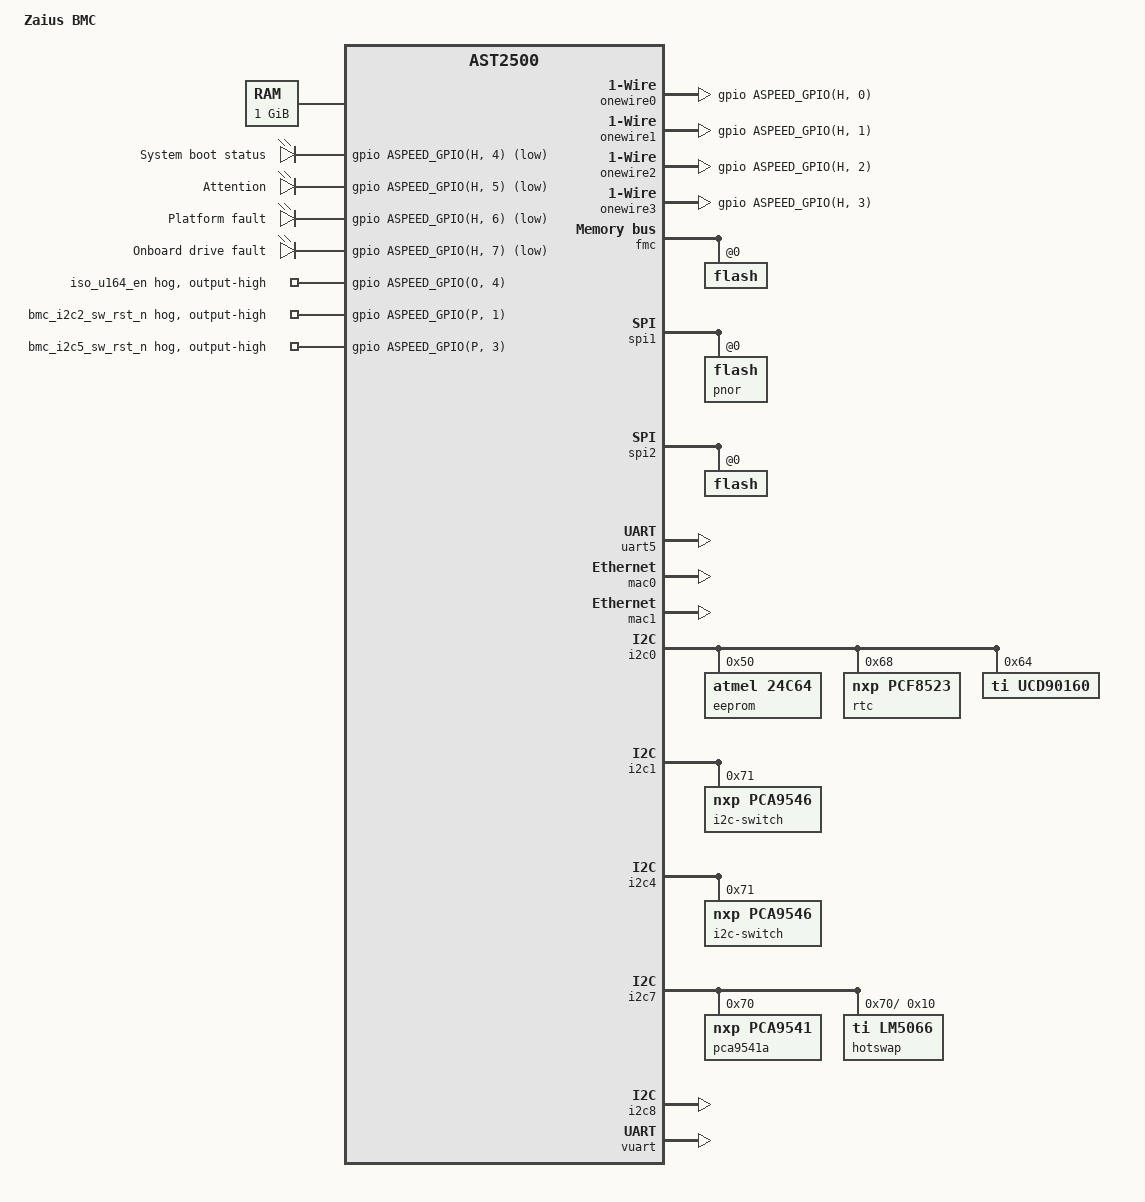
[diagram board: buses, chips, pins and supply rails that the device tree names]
/dts-v1/;

#include "aspeed-g5.dtsi"
#include <dt-bindings/gpio/aspeed-gpio.h>

/ {
	model = "Zaius BMC";
	compatible = "ingrasys,zaius-bmc", "aspeed,ast2500";

	aliases {
		serial4 = &uart5;
	};

	chosen {
		stdout-path = &uart5;
		bootargs = "console=ttyS4,115200 earlyprintk";
	};

	memory {
		reg = <0x80000000 0x40000000>;
	};

	onewire0 {
		compatible = "w1-gpio";
		gpios = <&gpio ASPEED_GPIO(H, 0) GPIO_ACTIVE_HIGH>;
	};

	onewire1 {
		compatible = "w1-gpio";
		gpios = <&gpio ASPEED_GPIO(H, 1) GPIO_ACTIVE_HIGH>;
	};

	onewire2 {
		compatible = "w1-gpio";
		gpios = <&gpio ASPEED_GPIO(H, 2) GPIO_ACTIVE_HIGH>;
	};

	onewire3 {
		compatible = "w1-gpio";
		gpios = <&gpio ASPEED_GPIO(H, 3) GPIO_ACTIVE_HIGH>;
	};

	leds {
		compatible = "gpio-leds";

		sys_boot_status {
			label = "System boot status";
			gpios = <&gpio ASPEED_GPIO(H, 4) GPIO_ACTIVE_LOW>;
		};

		attention {
			label = "Attention";
			gpios = <&gpio ASPEED_GPIO(H, 5) GPIO_ACTIVE_LOW>;
		};

		plt_fault {
			label = "Platform fault";
			gpios = <&gpio ASPEED_GPIO(H, 6) GPIO_ACTIVE_LOW>;
		};

		hdd_fault {
			label = "Onboard drive fault";
			gpios = <&gpio ASPEED_GPIO(H, 7) GPIO_ACTIVE_LOW>;
		};
	};
};

&fmc {
	status = "okay";
	flash@0 {
		status = "okay";
#include "aspeed-bmc-opp-flash-layout.dtsi"
	};
};

&spi1 {
	status = "okay";
	pinctrl-names = "default";
	pinctrl-0 = <&pinctrl_spi1_default>;

	flash@0 {
		status = "okay";
		label = "pnor";
	};
};

&spi2 {
	status = "okay";
	pinctrl-names = "default";
	pinctrl-0 = <&pinctrl_spi2ck_default
		     &pinctrl_spi2cs0_default
		     &pinctrl_spi2cs1_default
		     &pinctrl_spi2miso_default
		     &pinctrl_spi2mosi_default>;

	flash@0 {
		status = "okay";
	};
};

&uart5 {
	status = "okay";
};

&mac0 {
	status = "okay";

	pinctrl-names = "default";
	pinctrl-0 = <&pinctrl_rmii1_default>;
	use-ncsi;
};

&mac1 {
	status = "okay";

	pinctrl-names = "default";
	pinctrl-0 = <&pinctrl_rgmii2_default &pinctrl_mdio2_default>;
};

&i2c0 {
	status = "okay";

	eeprom@50 {
		compatible = "atmel,24c64";
		reg = <0x50>;
		pagesize = <32>;
	};

	rtc@68 {
		compatible = "nxp,pcf8523";
		reg = <0x68>;
	};

	ucd90160@64 {
		compatible = "ti,ucd90160";
		reg = <0x64>;
	};

	/* Power sequencer UCD90160 PMBUS @64h
	 * FRU AT24C64D @50h
	 * RTC PCF8523 @68h
	 * Clock buffer 9DBL04 @6dh
	 */
};

&i2c1 {
	status = "okay";

	i2c-switch@71 {
		compatible = "nxp,pca9546";
		reg = <0x71>;
		#address-cells = <1>;
		#size-cells = <0>;
	};

	/* MUX1 PCA9546A @71h
	 *   PCIe 0
	 *   PCIe 1
	 *   PCIe 2
	 *   TPM header
	 */
};

&i2c2 {
	status = "disabled";

	/* OCP Mezz Connector A (OOB SMBUS) */
};

&i2c3 {
	status = "disabled";

	/* OCP Mezz Connector A (PCIe slot SMBUS) */
};

&i2c4 {
	status = "okay";

	i2c-switch@71 {
		compatible = "nxp,pca9546";
		reg = <0x71>;
		#address-cells = <1>;
		#size-cells = <0>;
	};

	/* MUX1 PCA9546A @71h
	 *   PCIe 3
	 *   PCIe 4
	 */
};


&i2c5 {
	status = "disabled";

	/* CPU0 PRM 0.7V */
	/* CPU0 PRM 1.2V CH03 */
	/* CPU0 PRM 0.8V */
	/* CPU0 PRM 1.2V CH47 */
};

&i2c6 {
	status = "disabled";

	/* CPU1 PRM 0.7V */
	/* CPU1 PRM 1.2V CH03 */
	/* CPU1 PRM 0.8V */
	/* CPU1 PRM 1.2V CH47 */
};

&i2c7 {
	status = "okay";

	pca9541a@70 {
		compatible = "nxp,pca9541";
		reg = <0x70>;

		i2c-arb {
			#address-cells = <1>;
			#size-cells = <0>;

			hotswap@10 {
				compatible = "ti,lm5066";
				reg = <0x10>;
			};
		};
	};

	/* Master selector PCA9541A @70h (other master: CPU0)
	 *   LM5066I PMBUS @10h
	 */
	/* 12V SMPS Q54SH12050NNDH @61h */
	/* CPU0 VR ISL68137 0.7V, 0.96V PMBUS @64h */
	/* CPU0 VR ISL68137 1.2V CH03 PMBUS @40h */
	/* CPU0 VR ISL68137 0.8V PMBUS @60h */
	/* CPU0 VR 1.0V IR38064 I2C @11h, PMBUS @41h */
	/* CPU0 VR ISL68137 1.2V CH47 PMBUS @41h */
};

&i2c8 {
	status = "okay";

	/* CPU1 VR ISL68137 0.7V, 0.96V PMBUS @65h */
	/* CPU1 VR ISL68137 1.2V CH03 PMBUS @44h */
	/* CPU1 VR ISL68137 0.8V PMBUS @61h */
	/* CPU1 VR 1.0V IR38064 I2C @12h, PMBUS @42h */
	/* CPU0 VR ISL68137 1.2V CH47 PMBUS @45h */
};


&i2c9 {
	status = "disabled";

	/* Fan board */
};

&i2c10 {
	status = "disabled";
};

&i2c11 {
	status = "disabled";

	/* GPU sideband */
};

&i2c12 {
	status = "disabled";
};

&i2c13 {
	status = "disabled";

	/* MUX PI3USB102
	 *   CPU0 debug
	 *   CPU1 debug
	 */
};

&gpio {
	line_iso_u146_en {
		gpio-hog;
		gpios = <ASPEED_GPIO(O, 4) GPIO_ACTIVE_HIGH>;
		output-high;
		line-name = "iso_u164_en";
	};

	line_bmc_i2c2_sw_rst_n {
		gpio-hog;
		gpios = <ASPEED_GPIO(P, 1) GPIO_ACTIVE_HIGH>;
		output-high;
		line-name = "bmc_i2c2_sw_rst_n";
	};

	line_bmc_i2c5_sw_rst_n {
		gpio-hog;
		gpios = <ASPEED_GPIO(P, 3) GPIO_ACTIVE_HIGH>;
		output-high;
		line-name = "bmc_i2c5_sw_rst_n";
	};
};

&vuart {
	status = "okay";
};
